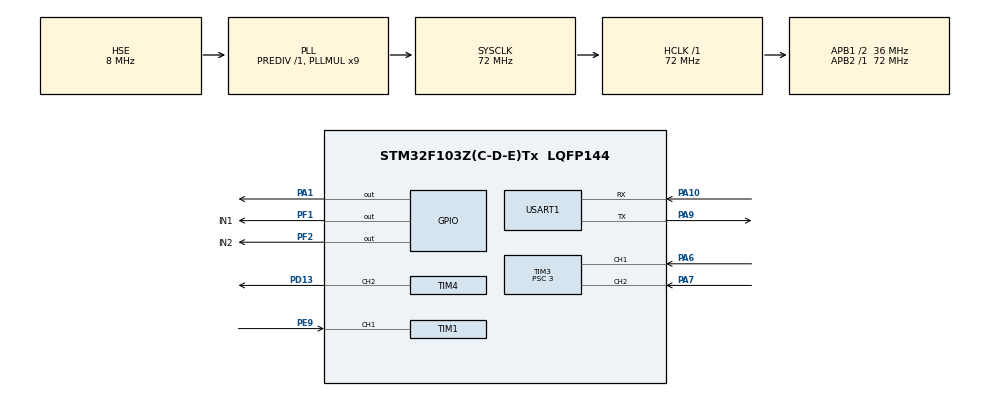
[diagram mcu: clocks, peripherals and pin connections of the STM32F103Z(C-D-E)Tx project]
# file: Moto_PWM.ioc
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Mcu.Family=STM32F1
Mcu.Name=STM32F103Z(C-D-E)Tx
Mcu.Package=LQFP144
NVIC.PriorityGroup=NVIC_PRIORITYGROUP_4
NVIC.TIM1_BRK_IRQn=true\:0\:0\:false\:false\:true\:true\:true
NVIC.TIM1_CC_IRQn=true\:0\:0\:false\:false\:true\:true\:true
NVIC.TIM1_TRG_COM_IRQn=true\:0\:0\:false\:false\:true\:true\:true
NVIC.TIM1_UP_IRQn=true\:0\:0\:false\:false\:true\:true\:true
NVIC.TIM6_IRQn=true\:0\:0\:false\:false\:true\:true\:true
NVIC.USART1_IRQn=true\:0\:0\:false\:false\:true\:true\:true
OSC_IN.Mode=HSE-External-Oscillator
OSC_IN.Signal=RCC_OSC_IN
OSC_OUT.Mode=HSE-External-Oscillator
OSC_OUT.Signal=RCC_OSC_OUT
PA1.Signal=GPIO_Output
PA10.Mode=Asynchronous
PA10.Signal=USART1_RX
PA13.Mode=Serial_Wire
PA13.Signal=SYS_JTMS-SWDIO
PA14.Mode=Serial_Wire
PA14.Signal=SYS_JTCK-SWCLK
PA6.Signal=S_TIM3_CH1
PA7.Signal=S_TIM3_CH2
PA9.Mode=Asynchronous
PA9.Signal=USART1_TX
PD13.Signal=S_TIM4_CH2
PE9.Signal=S_TIM1_CH1
PF1.GPIO_Label=IN1
PF1.GPIO_Speed=GPIO_SPEED_FREQ_HIGH
PF1.Signal=GPIO_Output
PF2.GPIO_Label=IN2
PF2.GPIO_Speed=GPIO_SPEED_FREQ_HIGH
PF2.Signal=GPIO_Output
ProjectManager.HeapSize=0x200
ProjectManager.StackSize=0x400
ProjectManager.TargetToolchain=MDK-ARM V5
RCC.AHBFreq_Value=72000000
RCC.APB1CLKDivider=RCC_HCLK_DIV2
RCC.APB1Freq_Value=36000000
RCC.APB1TimFreq_Value=72000000
RCC.APB2Freq_Value=72000000
RCC.APB2TimFreq_Value=72000000
RCC.HCLKFreq_Value=72000000
RCC.PLLMUL=RCC_PLL_MUL9
RCC.PLLSourceVirtual=RCC_PLLSOURCE_HSE
RCC.SYSCLKFreq_VALUE=72000000
RCC.SYSCLKSource=RCC_SYSCLKSOURCE_PLLCLK
RCC.USBFreq_Value=72000000
SH.S_TIM1_CH1.0=TIM1_CH1,Input_Capture1_from_TI1
SH.S_TIM3_CH1.0=TIM3_CH1,Encoder_Interface
SH.S_TIM3_CH2.0=TIM3_CH2,Encoder_Interface
SH.S_TIM4_CH2.0=TIM4_CH2,PWM Generation2 CH2
TIM1.Channel-Input_Capture1_from_TI1=TIM_CHANNEL_1
TIM1.Period=7999
TIM1.Prescaler=839
TIM3.EncoderMode=TIM_ENCODERMODE_TI12
TIM3.Period=890
TIM3.Prescaler=3
TIM4.Channel-PWM\ Generation2\ CH2=TIM_CHANNEL_2
TIM4.Period=1000-1
TIM4.Prescaler=72-1
TIM6.Period=10
TIM6.Prescaler=8399
USART1.VirtualMode=VM_ASYNC
VP_TIM1_VS_ClockSourceINT.Mode=Internal
VP_TIM6_VS_ClockSourceINT.Mode=Enable_Timer
board=custom

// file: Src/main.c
/* USER CODE BEGIN Header */
/**
  ******************************************************************************
  * @file           : main.c
  * @brief          : Main program body
  ******************************************************************************
  * @attention
  *
  * <h2><center>&copy; Copyright (c) 2019 STMicroelectronics.
  * All rights reserved.</center></h2>
  *
  * This software component is licensed by ST under BSD 3-Clause license,
  * the "License"; You may not use this file except in compliance with the
  * License. You may obtain a copy of the License at:
  *                        opensource.org/licenses/BSD-3-Clause
  *
  ******************************************************************************
  */
/* USER CODE END Header */

#include "main.h"
#include "tim.h"
#include "usart.h"
#include "gpio.h"

/* USER CODE BEGIN Includes */
#include "hcsr04.h"
/* USER CODE END Includes */

void SystemClock_Config(void);

/* USER CODE BEGIN 0 */
void user_pwm_setvalue(uint16_t value) ;//声明用户设置pwm占空比函数
void moto_revolve_set(uint8_t moto_number,uint8_t revolve);//设置电机编号正反转函数
/* USER CODE END 0 */

int main(void)
{

  /* MCU Configuration--------------------------------------------------------*/

  /* Reset of all peripherals, Initializes the Flash interface and the Systick. */
  HAL_Init();

  /* Configure the system clock */
  SystemClock_Config();

  /* Initialize all configured peripherals */
  MX_GPIO_Init();
  MX_TIM3_Init();
  MX_TIM4_Init();
  MX_TIM1_Init();
  MX_USART1_UART_Init();
  MX_TIM6_Init();
  /* USER CODE BEGIN 2 */
  HAL_TIM_Base_Start_IT(&htim6);
	HcSr04_Init(hc_sr04);
	HAL_TIM_PWM_Start(&htim4, TIM_CHANNEL_2);
	HAL_Delay(2000);
  int pwm_value=0;
  /* USER CODE END 2 */

  /* Infinite loop */
  /* USER CODE BEGIN WHILE */
  while (1)
  {
		HAL_Delay(200);
		pwm_value = 400;
		user_pwm_setvalue(pwm_value);
    HcSr04_NearWall(hc_sr04);
    /* USER CODE END WHILE */

  }
}

void SystemClock_Config(void)
{
  RCC_OscInitTypeDef RCC_OscInitStruct = {0};
  RCC_ClkInitTypeDef RCC_ClkInitStruct = {0};

  /** Initializes the CPU, AHB and APB busses clocks
  */
  RCC_OscInitStruct.OscillatorType = RCC_OSCILLATORTYPE_HSE;
  RCC_OscInitStruct.HSEState = RCC_HSE_ON;
  RCC_OscInitStruct.HSEPredivValue = RCC_HSE_PREDIV_DIV1;
  RCC_OscInitStruct.HSIState = RCC_HSI_ON;
  RCC_OscInitStruct.PLL.PLLState = RCC_PLL_ON;
  RCC_OscInitStruct.PLL.PLLSource = RCC_PLLSOURCE_HSE;
  RCC_OscInitStruct.PLL.PLLMUL = RCC_PLL_MUL9;
  if (HAL_RCC_OscConfig(&RCC_OscInitStruct) != HAL_OK)
  {
    Error_Handler();
  }
  /** Initializes the CPU, AHB and APB busses clocks
  */
  RCC_ClkInitStruct.ClockType = RCC_CLOCKTYPE_HCLK|RCC_CLOCKTYPE_SYSCLK
                              |RCC_CLOCKTYPE_PCLK1|RCC_CLOCKTYPE_PCLK2;
  RCC_ClkInitStruct.SYSCLKSource = RCC_SYSCLKSOURCE_PLLCLK;
  RCC_ClkInitStruct.AHBCLKDivider = RCC_SYSCLK_DIV1;
  RCC_ClkInitStruct.APB1CLKDivider = RCC_HCLK_DIV2;
  RCC_ClkInitStruct.APB2CLKDivider = RCC_HCLK_DIV1;

  if (HAL_RCC_ClockConfig(&RCC_ClkInitStruct, FLASH_LATENCY_2) != HAL_OK)
  {
    Error_Handler();
  }
}

/* USER CODE BEGIN 4 */
void HAL_TIM_PeriodElapsedCallback(TIM_HandleTypeDef *htim)
{
    if (htim->Instance == htim6.Instance)
    {
			HcSr04_Trig();
			HcSr04_USARTPrint(hc_sr04);
			HAL_TIM_Base_Start_IT(&htim6);
    }
}

void user_pwm_setvalue(uint16_t value)
{
    TIM_OC_InitTypeDef sConfigOC;

    sConfigOC.OCMode = TIM_OCMODE_PWM1;
    sConfigOC.Pulse = value;
    sConfigOC.OCPolarity = TIM_OCPOLARITY_HIGH;
    sConfigOC.OCFastMode = TIM_OCFAST_DISABLE;
    HAL_TIM_PWM_ConfigChannel(&htim4, &sConfigOC, TIM_CHANNEL_2);
    HAL_TIM_PWM_Start(&htim4, TIM_CHANNEL_2);
}

void moto_revolve_set(uint8_t moto_number,uint8_t revolve)
{
	if(moto_number==moto_L)
	{
		switch(revolve)
		{
			case front:    HAL_GPIO_WritePin(GPIOF, GPIO_PIN_1, GPIO_PIN_SET);
										 HAL_GPIO_WritePin(GPIOF, GPIO_PIN_2, GPIO_PIN_RESET);			//IN1置高  IN2置低 正转
										 break;

			case back:     HAL_GPIO_WritePin(GPIOF, GPIO_PIN_1, GPIO_PIN_RESET);
										 HAL_GPIO_WritePin(GPIOF, GPIO_PIN_2, GPIO_PIN_SET);				//IN1置低  IN2置高  反转
										 break;

			case stop:     HAL_GPIO_WritePin(GPIOF, GPIO_PIN_1, GPIO_PIN_RESET);
										 HAL_GPIO_WritePin(GPIOF, GPIO_PIN_2, GPIO_PIN_RESET);			//IN1置低  IN2置低  停止
										 break;
		}
	}
}

/* USER CODE END 4 */

void Error_Handler(void)
{
}

/************************ (C) COPYRIGHT STMicroelectronics *****END OF FILE****/
